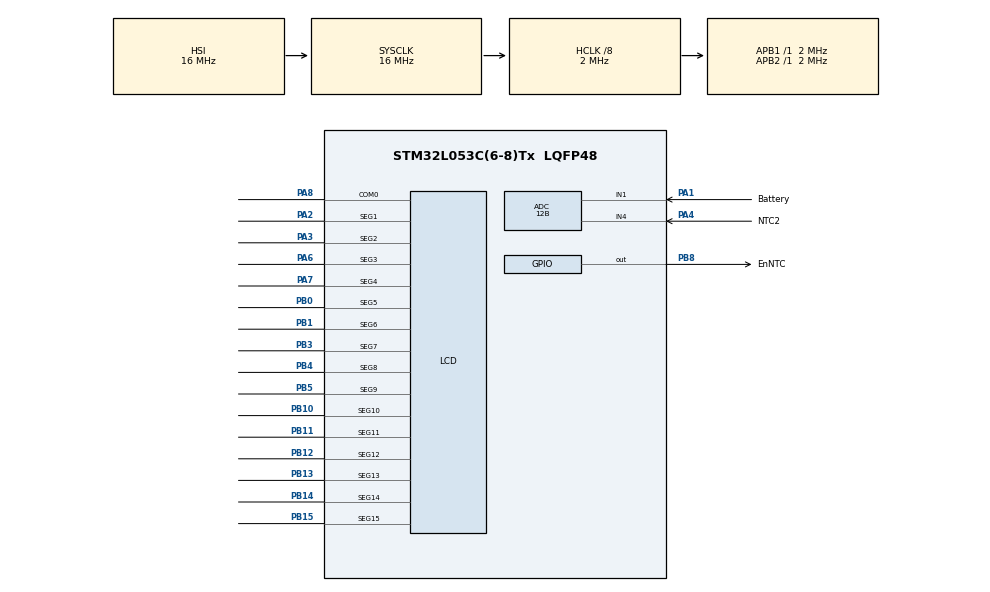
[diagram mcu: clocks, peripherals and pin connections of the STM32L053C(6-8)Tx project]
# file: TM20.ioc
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ADC.Channel=ADC_CHANNEL_4
ADC.ClockPrescaler=ADC_CLOCK_SYNC_PCLK_DIV2
ADC.ContinuousConvMode=DISABLE
ADC.DMAContinuousRequests=DISABLE
ADC.DataAlign=ADC_DATAALIGN_RIGHT
ADC.DiscontinuousConvMode=ENABLE
ADC.EOCSelection=ADC_EOC_SINGLE_CONV
ADC.EnableAnalogWatchDog=false
ADC.ExternalTrigConv=ADC_SOFTWARE_START
ADC.ExternalTrigConvEdge=ADC_EXTERNALTRIGCONVEDGE_NONE
ADC.LowPowerAutoOff=ENABLE
ADC.LowPowerAutoPowerOff=DISABLE
ADC.LowPowerAutoWait=DISABLE
ADC.LowPowerFrequencyMode=DISABLE
ADC.Overrun=ADC_OVR_DATA_PRESERVED
ADC.OversamplingMode=DISABLE
ADC.Resolution=ADC_RESOLUTION_12B
ADC.SamplingTime=ADC_SAMPLETIME_3CYCLES_5
ADC.ScanConvMode=ADC_SCAN_DIRECTION_FORWARD
LCD.Contrast-Static=LCD_CONTRASTLEVEL_3
LCD.DeadTime-Static=LCD_DEADTIME_4
LCD.Prescaler-Static=LCD_PRESCALER_4
LCD.PulseOnDuration-Static=LCD_PULSEONDURATION_7
Mcu.Family=STM32L0
Mcu.Name=STM32L053C(6-8)Tx
Mcu.Package=LQFP48
NVIC.ADC1_COMP_IRQn=true\:0\:0\:false\:false\:true\:true
NVIC.LCD_IRQn=true\:3\:0\:true\:false\:true\:true
NVIC.RTC_IRQn=true\:0\:0\:false\:false\:true\:true
PA1.GPIO_Label=Battery
PA1.GPIO_Mode=GPIO_MODE_ANALOG
PA1.GPIO_PuPd=GPIO_NOPULL
PA1.Mode=IN1
PA1.Signal=ADC_IN1
PA13.Mode=Serial_Wire
PA13.Signal=SYS_SWDIO
PA14.Mode=Serial_Wire
PA14.Signal=SYS_SWCLK
PA2.Mode=SEG1
PA2.Signal=LCD_SEG1
PA3.Mode=SEG2
PA3.Signal=LCD_SEG2
PA4.GPIO_Label=NTC2
PA4.GPIO_Mode=GPIO_MODE_ANALOG
PA4.GPIO_PuPd=GPIO_NOPULL
PA4.Mode=IN4
PA4.Signal=ADC_IN4
PA6.Mode=SEG3
PA6.Signal=LCD_SEG3
PA7.Mode=SEG4
PA7.Signal=LCD_SEG4
PA8.Mode=Static
PA8.Signal=LCD_COM0
PB0.Mode=SEG5
PB0.Signal=LCD_SEG5
PB1.Mode=SEG6
PB1.Signal=LCD_SEG6
PB10.Mode=SEG10
PB10.Signal=LCD_SEG10
PB11.Mode=SEG11
PB11.Signal=LCD_SEG11
PB12.Mode=SEG12
PB12.Signal=LCD_SEG12
PB13.Mode=SEG13
PB13.Signal=LCD_SEG13
PB14.Mode=SEG14
PB14.Signal=LCD_SEG14
PB15.Mode=SEG15
PB15.Signal=LCD_SEG15
PB3.Mode=SEG7
PB3.Signal=LCD_SEG7
PB4.Mode=SEG8
PB4.Signal=LCD_SEG8
PB5.Mode=SEG9
PB5.Signal=LCD_SEG9
PB8.GPIO_Label=EnNTC
PB8.GPIO_ModeDefaultOutputPP=GPIO_MODE_OUTPUT_PP
PB8.GPIO_PuPd=GPIO_PULLDOWN
PB8.GPIO_Speed=GPIO_SPEED_FREQ_LOW
PB8.Signal=GPIO_Output
ProjectManager.HeapSize=0x200
ProjectManager.StackSize=0x400
ProjectManager.TargetToolchain=MDK-ARM V5
RCC.ADCFreq_Value=16000000
RCC.AHBCLKDivider=RCC_SYSCLK_DIV8
RCC.AHBFreq_Value=2000000
RCC.APB1Freq_Value=2000000
RCC.APB1TimFreq_Value=2000000
RCC.APB2Freq_Value=2000000
RCC.APB2TimFreq_Value=2000000
RCC.HCLKFreq_Value=2000000
RCC.HSE_VALUE=8000000
RCC.HSI16_VALUE=16000000
RCC.HSI48_VALUE=48000000
RCC.HSI_VALUE=16000000
RCC.LSE_VALUE=32768
RCC.MSIClockRange=RCC_MSIRANGE_6
RCC.MSI_VALUE=4194000
RCC.SYSCLKFreq_VALUE=16000000
RCC.SYSCLKSource=RCC_SYSCLKSOURCE_HSI
RCC.VCOOutputFreq_Value=48000000
RCC.VDD_VALUE=3
RTC.WakeUpClock=RTC_WAKEUPCLOCK_CK_SPRE_16BITS
RTC.WakeUpCounter=10
RTC.WakeUpCounter-WakeUp=30
VP_ADC_Vref_Input.Mode=IN-Vrefint
VP_RTC_VS_RTC_Activate.Mode=RTC_Enabled
VP_RTC_VS_RTC_Calendar.Mode=RTC_Calendar
VP_RTC_VS_RTC_WakeUp_intern.Mode=WakeUp
board=TM20

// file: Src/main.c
/**
  ******************************************************************************
  * File Name          : main.c
  * Description        : Main program body
  ******************************************************************************
  ** This notice applies to any and all portions of this file
  * that are not between comment pairs USER CODE BEGIN and
  * USER CODE END. Other portions of this file, whether
  * inserted by the user or by software development tools
  * are owned by their respective copyright owners.
  *
  * COPYRIGHT(c) 2017 STMicroelectronics
  *
  * Redistribution and use in source and binary forms, with or without modification,
  * are permitted provided that the following conditions are met:
  *   1. Redistributions of source code must retain the above copyright notice,
  *      this list of conditions and the following disclaimer.
  *   2. Redistributions in binary form must reproduce the above copyright notice,
  *      this list of conditions and the following disclaimer in the documentation
  *      and/or other materials provided with the distribution.
  *   3. Neither the name of STMicroelectronics nor the names of its contributors
  *      may be used to endorse or promote products derived from this software
  *      without specific prior written permission.
  *
  * THIS SOFTWARE IS PROVIDED BY THE COPYRIGHT HOLDERS AND CONTRIBUTORS "AS IS"
  * AND ANY EXPRESS OR IMPLIED WARRANTIES, INCLUDING, BUT NOT LIMITED TO, THE
  * IMPLIED WARRANTIES OF MERCHANTABILITY AND FITNESS FOR A PARTICULAR PURPOSE ARE
  * DISCLAIMED. IN NO EVENT SHALL THE COPYRIGHT HOLDER OR CONTRIBUTORS BE LIABLE
  * FOR ANY DIRECT, INDIRECT, INCIDENTAL, SPECIAL, EXEMPLARY, OR CONSEQUENTIAL
  * DAMAGES (INCLUDING, BUT NOT LIMITED TO, PROCUREMENT OF SUBSTITUTE GOODS OR
  * SERVICES; LOSS OF USE, DATA, OR PROFITS; OR BUSINESS INTERRUPTION) HOWEVER
  * CAUSED AND ON ANY THEORY OF LIABILITY, WHETHER IN CONTRACT, STRICT LIABILITY,
  * OR TORT (INCLUDING NEGLIGENCE OR OTHERWISE) ARISING IN ANY WAY OUT OF THE USE
  * OF THIS SOFTWARE, EVEN IF ADVISED OF THE POSSIBILITY OF SUCH DAMAGE.
  *
  ******************************************************************************
  */

#include "main.h"
#include "stm32l0xx_hal.h"
#include "adc.h"
#include "lcd.h"
#include "rtc.h"
#include "gpio.h"

/* USER CODE BEGIN Includes */
#include "user.h"
#include "LcdManagement.h"
#include "LowPowerManagement.h"
#include "SensorTemperature.h"
#include "adcManagement.h"

/* USER CODE END Includes */

void SystemClock_Config(void);

/* USER CODE BEGIN PFP */
extern ADC_HandleTypeDef hadc;

/* USER CODE END PFP */

/* USER CODE BEGIN 0 */

conversion_enum conversion;

#ifdef DEBUG
uint16_t 	value	= 99;
#endif

/* USER CODE END 0 */

int main(void)
{

  /* MCU Configuration----------------------------------------------------------*/

  /* Reset of all peripherals, Initializes the Flash interface and the Systick. */
  HAL_Init();

  /* Configure the system clock */
  SystemClock_Config();

  /* Initialize all configured peripherals */
  MX_GPIO_Init();
  MX_ADC_Init();
  MX_LCD_Init();
  MX_RTC_Init();

  /* USER CODE BEGIN 2 */
	HAL_GPIO_WritePin(GPIOB, GPIO_PIN_8,GPIO_PIN_RESET);
	InitVariable();
	HAL_Delay(1);

	__HAL_LCD_CONTRAST_CONFIG(&hlcd, LCD_CONTRASTLEVEL_7);

	HAL_Delay(1);
	lcd_print(88);
	HAL_Delay(500);

	if (HAL_ADCEx_Calibration_Start(&hadc, ADC_SINGLE_ENDED) != HAL_OK)	{ Error_Handler(); }

  /* USER CODE END 2 */

  /* Infinite loop */
  while (1)
  {

  /* USER CODE BEGIN 3 */
  /* Infinite loop */

		if (conversion == BUSY)
		{
			if (HAL_ADC_Start_IT(&hadc) != HAL_OK)						{ Error_Handler(); }
			conversion = WAIT;
		}
		else if (conversion == READY)
		{
			vRef 					= ReadVref(u16Vref);
			VoltageValue 	= ReadVoltage(u16Battery);
			i16Celsius 		= ReadTemperature(u16Ntc2);
			if (VoltageValue <= LOW_BATTERY)
			{
				LowBattery();
			}
			lcd_print(i16Celsius);
			conversion = BUSY;
			Stop_Mode();
		}
		else if (conversion == WAIT)
		{/* ...Wait... */}
		else
		{/* Do Nothing */}

#ifdef DEBUG
			lcd_print(value);
			if (value <= 0)
			{
				value = 100;
				Stop_Mode();
				HAL_GPIO_TogglePin(GPIOA, GPIO_PIN_5);
			}
			value--;
#endif
  }
  /* USER CODE END 3 */

}

/** System Clock Configuration
*/
void SystemClock_Config(void)
{

  RCC_OscInitTypeDef RCC_OscInitStruct;
  RCC_ClkInitTypeDef RCC_ClkInitStruct;
  RCC_PeriphCLKInitTypeDef PeriphClkInit;

    /**Configure the main internal regulator output voltage
    */
  __HAL_PWR_VOLTAGESCALING_CONFIG(PWR_REGULATOR_VOLTAGE_SCALE1);

    /**Initializes the CPU, AHB and APB busses clocks
    */
  RCC_OscInitStruct.OscillatorType = RCC_OSCILLATORTYPE_HSI|RCC_OSCILLATORTYPE_LSI;
  RCC_OscInitStruct.HSIState = RCC_HSI_ON;
  RCC_OscInitStruct.HSICalibrationValue = 16;
  RCC_OscInitStruct.LSIState = RCC_LSI_ON;
  RCC_OscInitStruct.PLL.PLLState = RCC_PLL_NONE;
  if (HAL_RCC_OscConfig(&RCC_OscInitStruct) != HAL_OK)
  {
    _Error_Handler(__FILE__, __LINE__);
  }

    /**Initializes the CPU, AHB and APB busses clocks
    */
  RCC_ClkInitStruct.ClockType = RCC_CLOCKTYPE_HCLK|RCC_CLOCKTYPE_SYSCLK
                              |RCC_CLOCKTYPE_PCLK1|RCC_CLOCKTYPE_PCLK2;
  RCC_ClkInitStruct.SYSCLKSource = RCC_SYSCLKSOURCE_HSI;
  RCC_ClkInitStruct.AHBCLKDivider = RCC_SYSCLK_DIV8;
  RCC_ClkInitStruct.APB1CLKDivider = RCC_HCLK_DIV1;
  RCC_ClkInitStruct.APB2CLKDivider = RCC_HCLK_DIV1;

  if (HAL_RCC_ClockConfig(&RCC_ClkInitStruct, FLASH_LATENCY_0) != HAL_OK)
  {
    _Error_Handler(__FILE__, __LINE__);
  }

  PeriphClkInit.PeriphClockSelection = RCC_PERIPHCLK_RTC;
  PeriphClkInit.RTCClockSelection = RCC_RTCCLKSOURCE_LSI;
  if (HAL_RCCEx_PeriphCLKConfig(&PeriphClkInit) != HAL_OK)
  {
    _Error_Handler(__FILE__, __LINE__);
  }

    /**Configure the Systick interrupt time
    */
  HAL_SYSTICK_Config(HAL_RCC_GetHCLKFreq()/1000);

    /**Configure the Systick
    */
  HAL_SYSTICK_CLKSourceConfig(SYSTICK_CLKSOURCE_HCLK);

  /* SysTick_IRQn interrupt configuration */
  HAL_NVIC_SetPriority(SysTick_IRQn, 0, 0);
}

void _Error_Handler(char * file, int line)
{
  while(1)
  {
  }
}

/************************ (C) COPYRIGHT STMicroelectronics *****END OF FILE****/
